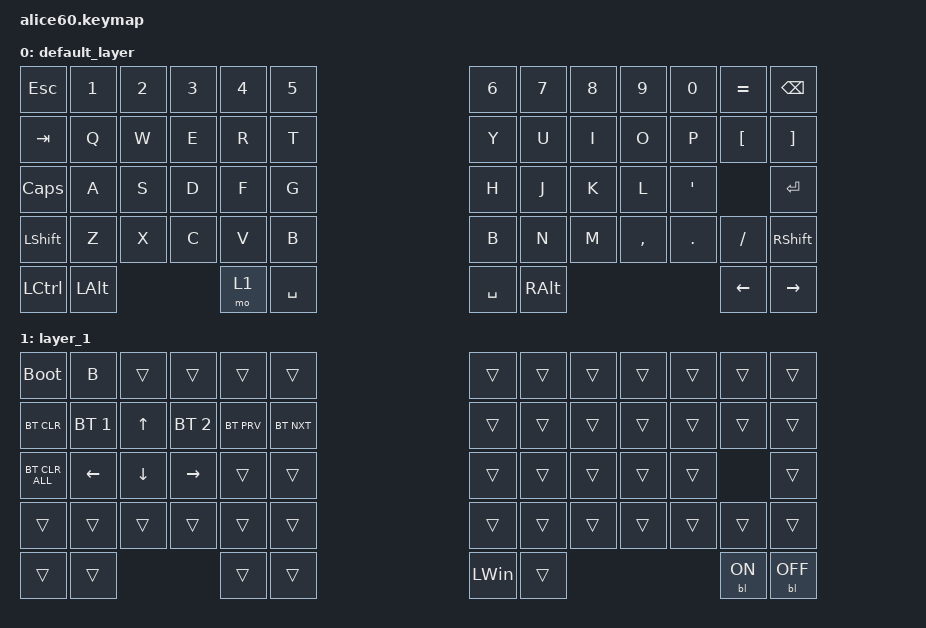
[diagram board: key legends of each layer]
/*
 * Copyright (c) 2020 The ZMK Contributors
 *
 * SPDX-License-Identifier: MIT
 */

#include <behaviors.dtsi>
#include <dt-bindings/zmk/backlight.h>
#include <dt-bindings/zmk/bt.h>
#include <dt-bindings/zmk/keys.h>

/ {
    keymap0: keymap {
        compatible = "zmk,keymap";

        default_layer {
            // | --- |   Q   |   W   |   E   |   R   |   T   |   Y   |   U   |   I   |   O   |   P   |  --- |
            // | --- |   A   |   S   |   D   |   F   |   G   |   H   |   J   |   K   |   L   |  Ent  |  --- |
            // | --- |   Z   |   X   |   C   |   V   |   B   |   N   |   M   | 3,Spc |  Del  |  BS   |  --- |
            // | --- |  ---  |  ---  | LCtrl | MO(1) | LSht  |  LAlt | MO(2) | LWin  |  ---  |  ---  |  --- | 
            // RC(0,0) RC(0,1) RC(0,2) RC(0,3) RC(0,4) RC(0,5) RC(0,6) RC(0,7) RC(0,8) RC(0,9) RC(0,10) RC(0,11) RC(0,12) 
            // RC(1,0) RC(1,1) RC(1,2) RC(1,3) RC(1,4) RC(1,5) RC(1,6) RC(1,7) RC(1,8) RC(1,9) RC(1,10) RC(1,11) RC(1,12) 
            // RC(2,0) RC(2,1) RC(2,2) RC(2,3) RC(2,4) RC(2,5) RC(2,6) RC(2,7) RC(2,8) RC(2,9) RC(2,10)          RC(2,12) 
            // RC(3,0) RC(3,1) RC(3,2) RC(3,3) RC(3,4) RC(3,5) RC(3,6) RC(3,7) RC(3,8) RC(3,9) RC(3,10) RC(3,11) RC(3,12)
            // RC(4,0) RC(4,1)         RC(4,3) RC(4,4)         RC(4,6)         RC(4,8)                  RC(4,11) RC(4,12)

            bindings = <
&kp ESC    &kp N1        &kp N2  &kp N3  &kp N4     &kp N5  &kp N6     &kp N7  &kp N8         &kp N9     &kp N0   &kp EQUAL  &kp BSPC
&kp TAB    &kp Q         &kp W   &kp E   &kp R      &kp T   &kp Y      &kp U   &kp I          &kp O      &kp P    &kp LBKT   &kp RBKT
&kp CAPS   &kp A         &kp S   &kp D   &kp F      &kp G   &kp H      &kp J   &kp K          &kp L      &kp SQT             &kp ENTER
&kp LSHFT  &kp Z         &kp X   &kp C   &kp V      &kp B   &kp B      &kp N   &kp M          &kp COMMA  &kp DOT  &kp FSLH   &kp RIGHT_SHIFT
&kp LCTRL  &kp LEFT_ALT          &mo 1   &kp SPACE          &kp SPACE          &kp RIGHT_ALT                      &kp LEFT   &kp RIGHT
            >;
        };

        layer_1 {
            bindings = <
&bootloader     &kp B         &trans    &trans        &trans      &trans      &trans        &trans  &trans  &trans  &trans  &trans     &trans
&bt BT_CLR      &bt BT_SEL 1  &kp UP    &bt BT_SEL 2  &bt BT_PRV  &bt BT_NXT  &trans        &trans  &trans  &trans  &trans  &trans     &trans
&bt BT_CLR_ALL  &kp LEFT      &kp DOWN  &kp RIGHT     &trans      &trans      &trans        &trans  &trans  &trans  &trans             &trans
&trans          &trans        &trans    &trans        &trans      &trans      &trans        &trans  &trans  &trans  &trans  &trans     &trans
&trans          &trans                  &trans        &trans                  &kp LEFT_WIN          &trans                  &bl BL_ON  &bl BL_OFF
            >;
        };
    };
};
